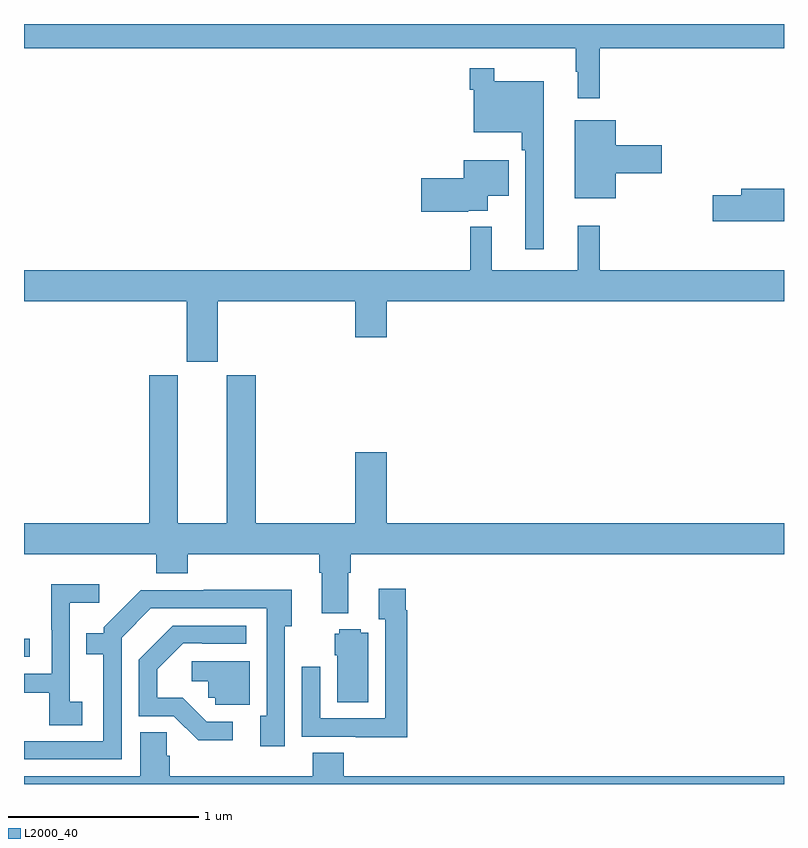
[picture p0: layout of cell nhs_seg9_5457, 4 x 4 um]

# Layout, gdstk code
import gdstk
lib = gdstk.Library(unit=1e-6, precision=1e-09)
def R(c, l, rs):  # rectangles x0, y0, x1, y1
    for r in rs: c.add(gdstk.rectangle(r[:2], r[2:], *l))
def P(c, l, *ps):  # polygons
    for p in ps: c.add(gdstk.Polygon(p, *l))
L2000_40 = (2000, 40)

nhs_seg9_5457 = lib.new_cell('nhs_seg9_5457')
R(nhs_seg9_5457, L2000_40, [(427,1241.169,427.03,1241.265)])
P(nhs_seg9_5457, L2000_40, [(430.031,1244.372),(431,1244.372),(431,1244.5),(427,1244.5),(427,1244.372),(429.903,1244.372),(429.903,1244.249),(429.914,1244.249),(429.914,1244.109),(430.031,1244.109)],
  [(429.736,1244.2),(429.475,1244.2),(429.475,1244.266),(429.346,1244.266),(429.346,1244.153),(429.366,1244.153),(429.366,1243.931),(429.619,1243.931),(429.619,1243.835),(429.639,1243.835),(429.639,1243.314),(429.736,1243.314)],
  [(430.114,1243.715),(430.357,1243.715),(430.357,1243.862),(430.114,1243.862),(430.114,1243.993),(429.899,1243.993),(429.899,1243.583),(430.114,1243.583)],
  [(429.338,1243.517),(429.442,1243.517),(429.442,1243.595),(429.55,1243.595),(429.55,1243.783),(429.314,1243.783),(429.314,1243.688),(429.09,1243.688),(429.09,1243.512),(429.338,1243.512)],
  [(431,1243.634),(430.775,1243.634),(430.775,1243.598),(430.626,1243.598),(430.626,1243.463),(431,1243.463)],
  [(431,1243.204),(430.031,1243.204),(430.031,1243.438),(429.914,1243.438),(429.914,1243.204),(429.461,1243.204),(429.461,1243.432),(429.348,1243.432),(429.348,1243.204),(427,1243.204),(427,1243.04),(427.856,1243.04),(427.856,1242.723),(428.02,1242.723),(428.02,1243.04),(428.744,1243.04),(428.744,1242.852),(428.908,1242.852),(428.908,1243.04),(431,1243.04)],
  [(428.707,1241.612),(428.72,1241.612),(428.72,1241.708),(431,1241.708),(431,1241.872),(428.908,1241.872),(428.908,1242.247),(428.744,1242.247),(428.744,1241.872),(428.219,1241.872),(428.219,1242.651),(428.066,1242.651),(428.066,1241.872),(427.81,1241.872),(427.81,1242.651),(427.658,1242.651),(427.658,1241.872),(427,1241.872),(427,1241.708),(427.697,1241.708),(427.697,1241.609),(427.862,1241.609),(427.862,1241.708),(428.555,1241.708),(428.555,1241.612),(428.567,1241.612),(428.567,1241.399),(428.707,1241.399)],
  [(427.306,1240.932),(427.242,1240.932),(427.242,1241.453),(427.396,1241.453),(427.396,1241.551),(427.144,1241.551),(427.144,1241.312),(427.146,1241.312),(427.146,1241.079),(427,1241.079),(427,1240.981),(427.134,1240.981),(427.134,1240.81),(427.306,1240.81)],
  [(429.017,1241.414),(429.01,1241.414),(429.01,1241.527),(428.867,1241.527),(428.867,1241.366),(428.901,1241.366),(428.901,1240.845),(428.559,1240.845),(428.559,1241.116),(428.463,1241.116),(428.463,1240.749),(428.747,1240.749),(428.747,1240.745),(429.017,1240.745)],
  [(427.515,1241.271),(427.668,1241.424),(428.277,1241.424),(428.277,1240.858),(428.243,1240.858),(428.243,1240.698),(428.373,1240.698),(428.373,1241.33),(428.41,1241.33),(428.41,1241.522),(427.945,1241.522),(427.945,1241.52),(427.614,1241.52),(427.419,1241.325),(427.419,1241.293),(427.327,1241.293),(427.327,1241.184),(427.418,1241.184),(427.418,1240.725),(427,1240.725),(427,1240.629),(427.515,1240.629)],
  [(428.098,1240.827),(427.962,1240.827),(427.835,1240.954),(427.702,1240.954),(427.702,1241.104),(427.839,1241.241),(427.939,1241.241),(427.939,1241.238),(428.17,1241.238),(428.17,1241.334),(427.784,1241.334),(427.605,1241.155),(427.605,1240.857),(427.788,1240.857),(427.916,1240.73),(428.098,1240.73)],
  [(428.812,1241.296),(428.772,1241.296),(428.772,1241.314),(428.658,1241.314),(428.658,1241.292),(428.636,1241.292),(428.636,1241.178),(428.648,1241.178),(428.648,1240.93),(428.812,1240.93)],
  [(428.188,1241.145),(427.884,1241.145),(427.884,1241.042),(427.971,1241.042),(427.971,1240.953),(428.007,1240.953),(428.007,1240.917),(428.188,1240.917)],
  [(431,1240.54),(428.684,1240.54),(428.684,1240.664),(428.519,1240.664),(428.519,1240.54),(427.766,1240.54),(427.766,1240.65),(427.751,1240.65),(427.751,1240.772),(427.613,1240.772),(427.613,1240.54),(427,1240.54),(427,1240.5),(431,1240.5)])

lib.write_gds('nhs_seg9_5457.gds')
